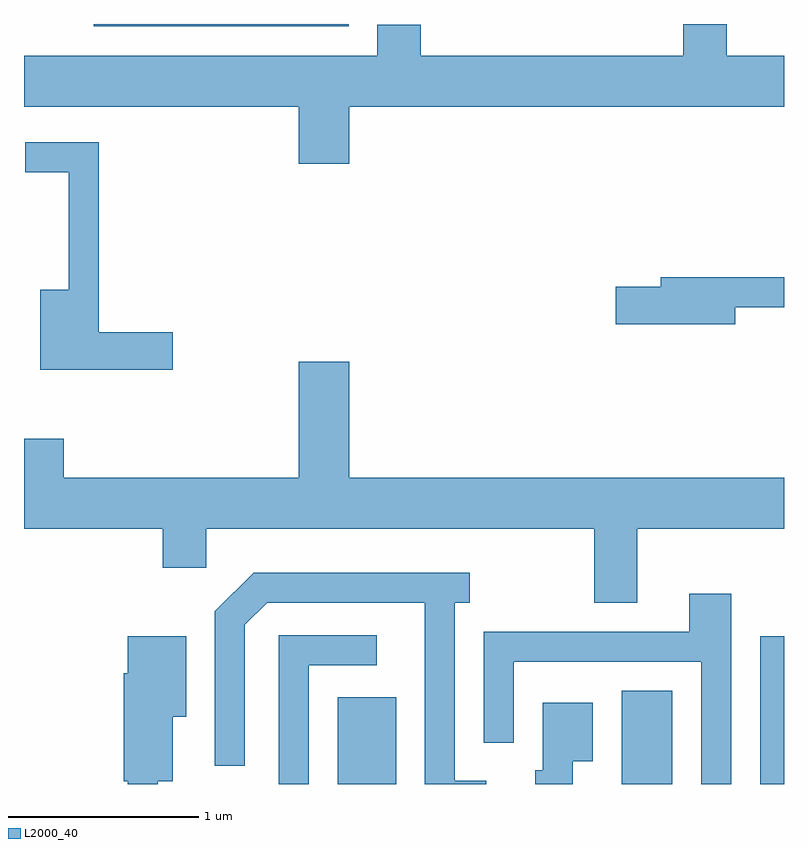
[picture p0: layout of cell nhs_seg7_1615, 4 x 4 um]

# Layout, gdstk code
import gdstk
lib = gdstk.Library(unit=1e-6, precision=1e-09)
def R(c, l, rs):  # rectangles x0, y0, x1, y1
    for r in rs: c.add(gdstk.rectangle(r[:2], r[2:], *l))
def P(c, l, *ps):  # polygons
    for p in ps: c.add(gdstk.Polygon(p, *l))
L2000_40 = (2000, 40)

nhs_seg7_1615 = lib.new_cell('nhs_seg7_1615')
R(nhs_seg7_1615, L2000_40, [(235.261,1766.252,235.569,1766.709), (236.756,1766.252,237.024,1766.744), (237.486,1766.252,237.611,1767.029), (233.978,1770.241,235.319,1770.252)])
P(nhs_seg7_1615, L2000_40, [(235.324,1769.816),(237.611,1769.816),(237.611,1770.084),(237.309,1770.084),(237.309,1770.252),(237.081,1770.252),(237.081,1770.084),(235.699,1770.084),(235.699,1770.249),(235.471,1770.249),(235.471,1770.084),(233.611,1770.084),(233.611,1769.816),(235.056,1769.816),(235.056,1769.516),(235.324,1769.516)],
  [(234.394,1768.629),(234.004,1768.629),(234.004,1769.629),(233.618,1769.629),(233.618,1769.471),(233.846,1769.471),(233.846,1768.854),(233.696,1768.854),(233.696,1768.431),(234.394,1768.431)],
  [(237.354,1768.761),(237.611,1768.761),(237.611,1768.919),(236.961,1768.919),(236.961,1768.869),(236.726,1768.869),(236.726,1768.671),(237.354,1768.671)],
  [(236.839,1767.596),(237.611,1767.596),(237.611,1767.864),(235.324,1767.864),(235.324,1768.474),(235.056,1768.474),(235.056,1767.864),(233.819,1767.864),(233.819,1768.069),(233.611,1768.069),(233.611,1767.596),(234.341,1767.596),(234.341,1767.391),(234.569,1767.391),(234.569,1767.596),(236.611,1767.596),(236.611,1767.206),(236.839,1767.206)],
  [(236.043,1766.269),(235.879,1766.269),(235.879,1767.206),(235.958,1767.206),(235.958,1767.364),(234.819,1767.364),(234.616,1767.162),(234.616,1766.348),(234.774,1766.348),(234.774,1767.089),(234.892,1767.206),(235.721,1767.206),(235.721,1766.252),(236.043,1766.252)],
  [(237.334,1767.254),(237.111,1767.254),(237.111,1767.054),(236.031,1767.054),(236.031,1766.468),(236.189,1766.468),(236.189,1766.896),(237.176,1766.896),(237.176,1766.252),(237.334,1766.252)],
  [(235.109,1766.876),(235.468,1766.876),(235.468,1767.034),(234.951,1767.034),(234.951,1766.252),(235.109,1766.252)],
  [(234.314,1766.266),(234.394,1766.266),(234.394,1766.606),(234.464,1766.606),(234.464,1767.029),(234.156,1767.029),(234.156,1766.834),(234.136,1766.834),(234.136,1766.266),(234.156,1766.266),(234.156,1766.252),(234.314,1766.252)],
  [(236.499,1766.371),(236.604,1766.371),(236.604,1766.679),(236.341,1766.679),(236.341,1766.324),(236.301,1766.324),(236.301,1766.252),(236.499,1766.252)])

lib.write_gds('nhs_seg7_1615.gds')
